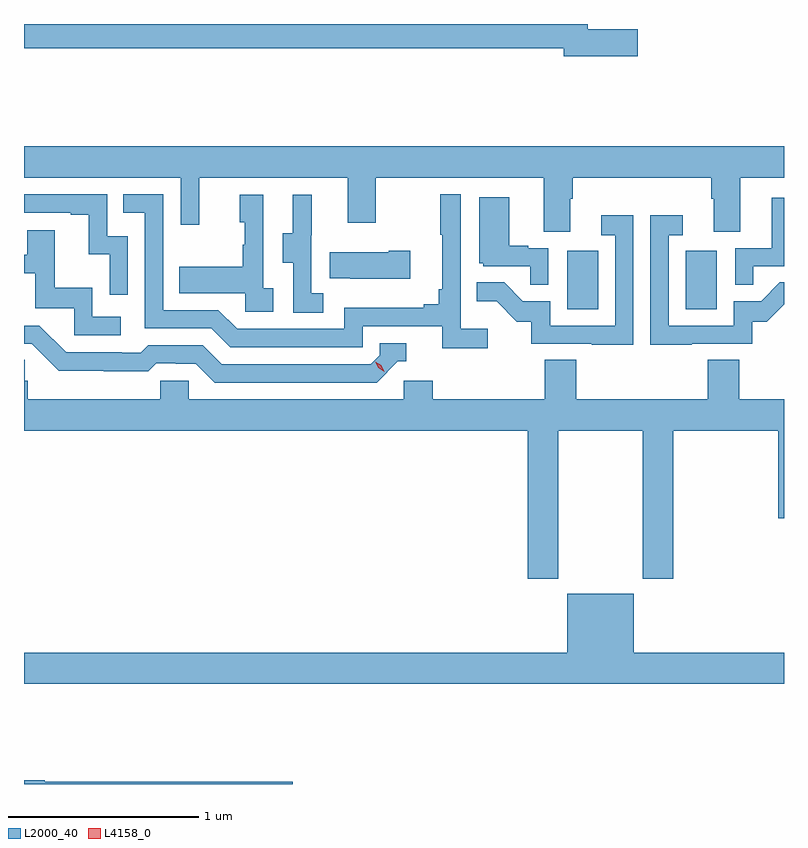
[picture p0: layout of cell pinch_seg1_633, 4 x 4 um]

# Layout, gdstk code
import gdstk
lib = gdstk.Library(unit=1e-6, precision=1e-09)
def R(c, l, rs):  # rectangles x0, y0, x1, y1
    for r in rs: c.add(gdstk.rectangle(r[:2], r[2:], *l))
def P(c, l, *ps):  # polygons
    for p in ps: c.add(gdstk.Polygon(p, *l))
L2000_40 = (2000, 40)
L4158_0 = (4158, 0)

pinch_seg1_633 = lib.new_cell('pinch_seg1_633')
R(pinch_seg1_633, L2000_40, [(1085.996,520.404,1086.16,520.711), (1086.62,520.404,1086.784,520.711)])
P(pinch_seg1_633, L2000_40, [(1086.367,521.876),(1086.106,521.876),(1086.106,521.904),(1083.138,521.904),(1083.138,521.776),(1085.978,521.776),(1085.978,521.734),(1086.367,521.734)],
  [(1086.013,520.984),(1086.026,520.984),(1086.026,521.096),(1086.755,521.096),(1086.755,520.984),(1086.767,520.984),(1086.767,520.81),(1086.907,520.81),(1086.907,521.096),(1087.138,521.096),(1087.138,521.26),(1083.138,521.26),(1083.138,521.096),(1083.963,521.096),(1083.963,520.847),(1084.061,520.847),(1084.061,521.096),(1084.841,521.096),(1084.841,520.857),(1084.989,520.857),(1084.989,521.096),(1085.873,521.096),(1085.873,520.81),(1086.013,520.81)],
  [(1085.578,520.3),(1085.436,520.3),(1085.436,521.008),(1085.328,521.008),(1085.328,520.795),(1085.339,520.795),(1085.339,520.507),(1085.32,520.507),(1085.32,520.43),(1085.243,520.43),(1085.243,520.411),(1084.824,520.411),(1084.824,520.299),(1084.26,520.299),(1084.161,520.398),(1083.87,520.398),(1083.87,521.007),(1083.661,521.007),(1083.661,520.911),(1083.774,520.911),(1083.774,520.302),(1084.124,520.302),(1084.223,520.203),(1084.92,520.203),(1084.92,520.314),(1085.339,520.314),(1085.339,520.198),(1085.578,520.198)],
  [(1083.684,520.788),(1083.576,520.788),(1083.576,521.007),(1083.138,521.007),(1083.138,520.911),(1083.383,520.911),(1083.383,520.899),(1083.479,520.899),(1083.479,520.691),(1083.588,520.691),(1083.588,520.479),(1083.684,520.479)],
  [(1084.714,520.487),(1084.65,520.487),(1084.65,520.791),(1084.652,520.791),(1084.652,521.005),(1084.553,521.005),(1084.553,520.803),(1084.499,520.803),(1084.499,520.648),(1084.554,520.648),(1084.554,520.384),(1084.714,520.384)],
  [(1084.45,520.514),(1084.398,520.514),(1084.398,521.005),(1084.274,521.005),(1084.274,520.86),(1084.3,520.86),(1084.3,520.742),(1084.29,520.742),(1084.29,520.627),(1083.955,520.627),(1083.955,520.487),(1084.302,520.487),(1084.302,520.389),(1084.45,520.389)],
  [(1085.898,520.725),(1085.792,520.725),(1085.792,520.738),(1085.692,520.738),(1085.692,520.993),(1085.534,520.993),(1085.534,520.644),(1085.556,520.644),(1085.556,520.629),(1085.803,520.629),(1085.803,520.531),(1085.898,520.531)],
  [(1086.977,520.629),(1087.138,520.629),(1087.138,520.99),(1087.073,520.99),(1087.073,520.725),(1086.882,520.725),(1086.882,520.531),(1086.977,520.531)],
  [(1086.653,520.221),(1086.972,520.221),(1086.972,520.338),(1087.048,520.338),(1087.138,520.428),(1087.138,520.544),(1087.115,520.544),(1087.017,520.446),(1086.873,520.446),(1086.873,520.317),(1086.531,520.317),(1086.531,520.791),(1086.604,520.791),(1086.604,520.897),(1086.435,520.897),(1086.435,520.216),(1086.653,520.216)],
  [(1086.345,520.897),(1086.177,520.897),(1086.177,520.791),(1086.249,520.791),(1086.249,520.317),(1085.907,520.317),(1085.907,520.446),(1085.763,520.446),(1085.665,520.544),(1085.521,520.544),(1085.521,520.445),(1085.625,520.445),(1085.732,520.338),(1085.809,520.338),(1085.809,520.221),(1086.127,520.221),(1086.127,520.216),(1086.345,520.216)],
  [(1083.646,520.362),(1083.498,520.362),(1083.498,520.516),(1083.299,520.516),(1083.299,520.819),(1083.155,520.819),(1083.155,520.689),(1083.138,520.689),(1083.138,520.593),(1083.197,520.593),(1083.197,520.407),(1083.402,520.407),(1083.402,520.266),(1083.646,520.266)],
  [(1085.17,520.71),(1085.057,520.71),(1085.057,520.702),(1084.747,520.702),(1084.747,520.565),(1084.855,520.565),(1084.855,520.562),(1085.17,520.562)],
  [(1085.106,520.128),(1085.149,520.128),(1085.149,520.224),(1085.01,520.224),(1085.01,520.161),(1084.962,520.113),(1084.179,520.113),(1084.08,520.212),(1083.791,520.212),(1083.752,520.173),(1083.653,520.173),(1083.653,520.176),(1083.36,520.176),(1083.219,520.317),(1083.138,520.317),(1083.138,520.221),(1083.18,520.221),(1083.322,520.079),(1083.558,520.079),(1083.558,520.077),(1083.791,520.077),(1083.833,520.119),(1083.936,520.119),(1083.936,520.116),(1084.043,520.116),(1084.142,520.017),(1084.995,520.017)],
  [(1085.949,519.764),(1086.394,519.764),(1086.394,518.985),(1086.554,518.985),(1086.554,519.764),(1087.109,519.764),(1087.109,519.303),(1087.138,519.303),(1087.138,519.928),(1086.902,519.928),(1086.902,520.136),(1086.737,520.136),(1086.737,519.928),(1086.044,519.928),(1086.044,520.136),(1085.879,520.136),(1085.879,519.928),(1085.288,519.928),(1085.288,520.026),(1085.136,520.026),(1085.136,519.928),(1084.005,519.928),(1084.005,520.026),(1083.855,520.026),(1083.855,519.928),(1083.158,519.928),(1083.158,520.026),(1083.143,520.026),(1083.143,520.136),(1083.138,520.136),(1083.138,519.764),(1085.789,519.764),(1085.789,518.985),(1085.949,518.985)],
  [(1087.138,518.596),(1086.346,518.596),(1086.346,518.905),(1085.996,518.905),(1085.996,518.596),(1083.138,518.596),(1083.138,518.432),(1087.138,518.432)],
  [(1084.552,517.916),(1083.246,517.916),(1083.246,517.924),(1083.138,517.924),(1083.138,517.904),(1084.552,517.904)])
P(pinch_seg1_633, L4158_0, [(1085.033,520.075),(1085.002,520.094),(1084.986,520.127),(1084.986,520.127),(1084.986,520.127),(1085.017,520.108),(1085.033,520.075),(1085.033,520.075)])

lib.write_gds('pinch_seg1_633.gds')
